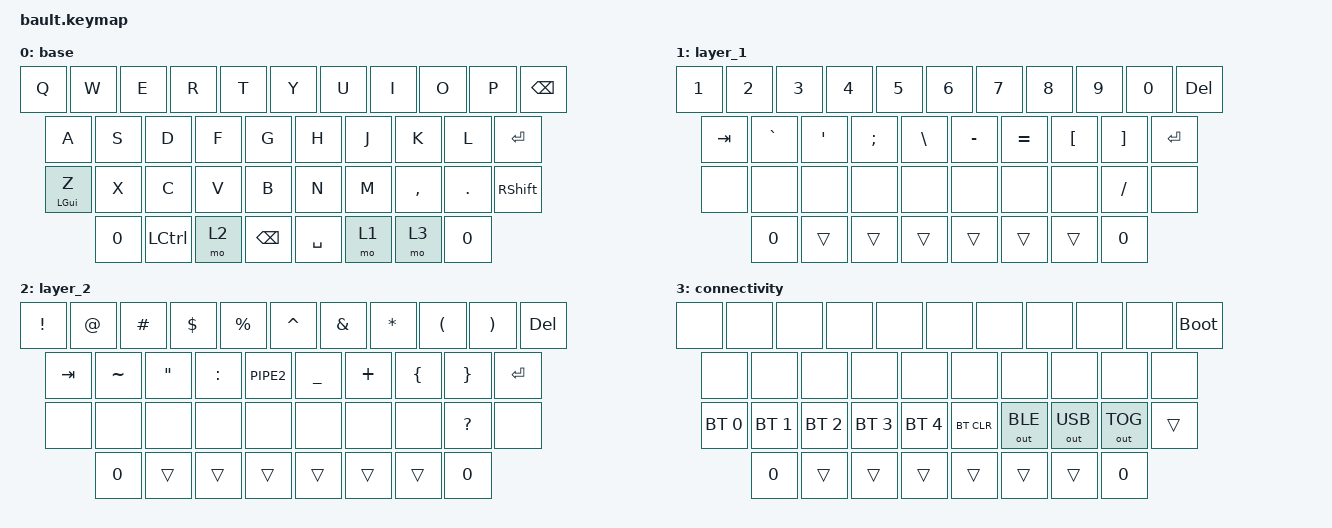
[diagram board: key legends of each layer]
#include <behaviors.dtsi>
#include <dt-bindings/zmk/keys.h>
#include <dt-bindings/zmk/bt.h>
#include <dt-bindings/zmk/outputs.h>

/ {

    behaviors {
        hm: homerow_mods {
            compatible = "zmk,behavior-hold-tap";
            display-name = "Homerow Mods";
            bindings = <&kp>, <&kp>;

            #binding-cells = <2>;
            tapping-term-ms = <200>;
            quick-tap-ms = <180>;
            require-prior-idle-ms = <0>;
            flavor = "tap-preferred";
        };
    };


    keymap {
        compatible = "zmk,keymap";

        base {
            bindings = <
                &kp Q      &kp W      &kp E      &kp R      &kp T      &kp Y      &kp U      &kp I      &kp O      &kp P      &kp BKSP
                &kp A          &kp S      &kp D      &kp F      &kp G      &kp H      &kp J      &kp K      &kp L          &kp ENTER
                &hm LGUI Z          &kp X      &kp C      &kp V      &kp B      &kp N      &kp M      &kp COMMA      &kp PERIOD      &kp RSHFT
                &kp N0          &kp LCTRL      &mo 2          &kp BKSP          &kp SPACE      &mo 1      &mo 3          &kp N0
            >;
        };

        layer_1 {
            bindings = <
                &kp N1  &kp N2  &kp N3  &kp N4  &kp N5  &kp N6  &kp N7    &kp N8    &kp N9     &kp N0     &kp DEL
                &kp TAB  &kp GRAVE  &kp APOS  &kp SEMI  &kp BSLH  &kp MINUS   &kp EQUAL  &kp LBKT   &kp RBKT &kp ENTER
                &none  &none  &none  &none  &none  &none  &none &none &kp FSLH  &none
                &kp N0   &trans  &trans  &trans  &trans  &trans    &trans &kp N0
            >;
        };
        layer_2 {
            bindings = <
                &kp EXCL    &kp AT   &kp POUND   &kp DLLR   &kp PRCNT  &kp CARET  &kp AMPS   &kp STAR   &kp LPAR   &kp RPAR   &kp DEL
                &kp TAB  &kp TILDE  &kp DQT   &kp COLON  &kp PIPE2  &kp UNDER   &kp PLUS   &kp LBRC   &kp RBRC &kp ENTER
                &none  &none  &none  &none  &none  &none  &none &none &kp QMARK  &none
                &kp N0   &trans  &trans  &trans  &trans  &trans    &trans &kp N0
            >;
        };

        connectivity {
            bindings = <
                &none &none &none &none &none &none &none &none &none &none &bootloader
                &none &none &none &none &none &none &none &none &none &none
                &bt BT_SEL 0 &bt BT_SEL 1 &bt BT_SEL 2 &bt BT_SEL 3 &bt BT_SEL 4  &bt BT_CLR    &out OUT_BLE  &out OUT_USB  &out OUT_TOG  &trans
                &kp N0   &trans  &trans  &trans  &trans        &trans        &trans &kp N0
            >;
        };
    };
};
